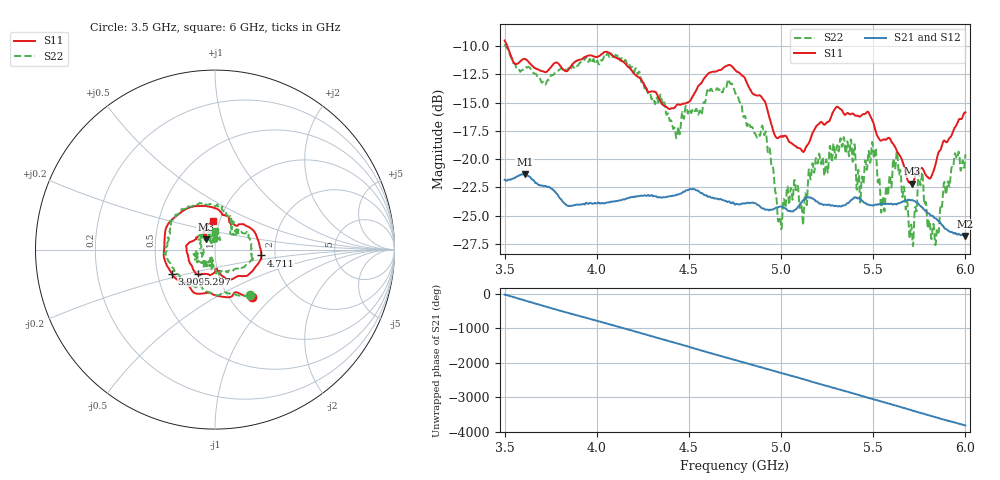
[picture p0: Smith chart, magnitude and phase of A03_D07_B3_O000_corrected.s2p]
! Created with skrf 1.9.0 (http://scikit-rf.org).
# Hz S RI R 50.0
!freq ReS11 ImS11 ReS21 ImS21 ReS12 ImS12 ReS22 ImS22
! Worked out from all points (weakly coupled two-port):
!   1601 points, 3.5 GHz to 6 GHz, reference 50 ohm
!   highest |S21| = -21.34 dB at 3.609 GHz (marker M1); lowest = -26.8 dB at 5.997 GHz (marker M2)
!   lowest |S11| = -22.2 dB at 5.709 GHz (marker M3), VSWR 1.17, Z = 44.8 + j5.27 ohm
!   |S11| at or under -10 dB: 3.514 GHz to end of sweep
!   |S22| runs from -27.7 to -9.8 dB; largest |S21 - S12| = 0.0011
!   S11 on the Smith chart (normalised r, x): 3.5 GHz: 1.27, -0.75; 3.909 GHz: 0.59, -0.17; 4.711 GHz: 1.69, -0.12; 5.297 GHz: 0.80, -0.23; 6 GHz: 0.93, +0.31
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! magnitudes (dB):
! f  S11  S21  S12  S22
! 3.5 GHz  -9.5  -21.8  -21.8  -9.8
! 3.609 GHz  -11.1  -21.3  -21.3  -12.0
! 3.909 GHz  -11.2  -24.1  -24.0  -11.5
! 3.917 GHz  -11.2  -24.0  -24.0  -11.3
! 4.334 GHz  -14.5  -23.4  -23.3  -15.0
! 4.439 GHz  -15.2  -23.2  -23.1  -17.5
! 4.711 GHz  -11.7  -23.8  -23.8  -13.0
! 4.75 GHz  -12.1  -24.0  -24.0  -14.1
! 4.909 GHz  -14.8  -24.4  -24.4  -17.9
! 4.994 GHz  -18.0  -24.2  -24.2  -25.2
! 5.167 GHz  -17.8  -23.5  -23.5  -20.7
! 5.297 GHz  -15.5  -24.1  -24.1  -19.9
! 5.436 GHz  -16.1  -23.6  -23.7  -22.0
! 5.503 GHz  -16.9  -24.1  -24.1  -19.9
! 5.584 GHz  -18.1  -24.0  -24.0  -22.4
! 5.636 GHz  -19.5  -23.9  -23.9  -20.7
! 5.709 GHz  -22.2  -23.6  -23.6  -26.3
! 5.755 GHz  -20.9  -24.1  -24.1  -22.2
! 5.844 GHz  -20.0  -25.3  -25.3  -26.5
! 5.936 GHz  -17.4  -26.6  -26.6  -20.5
! 5.997 GHz  -15.9  -26.8  -26.8  -20.3
! 6 GHz  -15.9  -26.8  -26.8  -19.6
